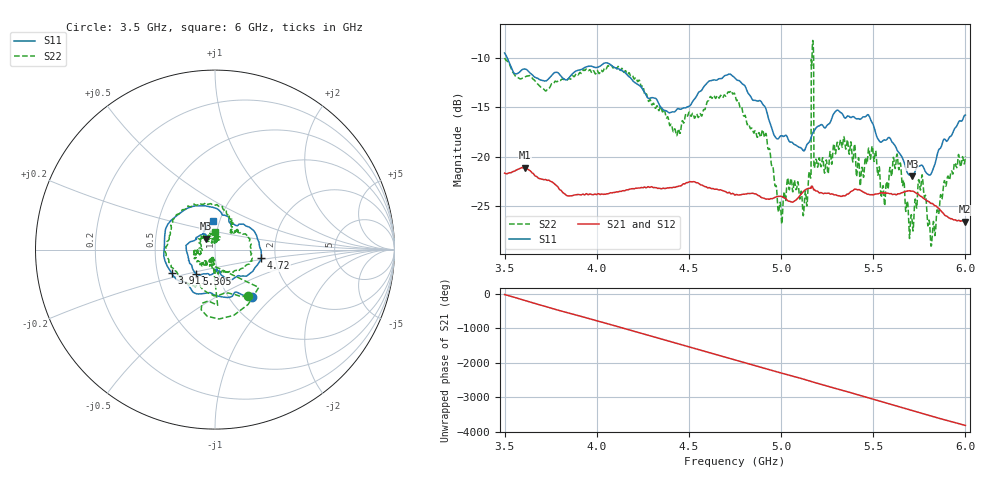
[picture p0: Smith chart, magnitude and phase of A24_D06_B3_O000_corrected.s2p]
! Created with skrf 1.9.0 (http://scikit-rf.org).
# Hz S RI R 50.0
!freq ReS11 ImS11 ReS21 ImS21 ReS12 ImS12 ReS22 ImS22
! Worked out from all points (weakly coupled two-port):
!   1601 points, 3.5 GHz to 6 GHz, reference 50 ohm
!   highest |S21| = -21.10 dB at 3.609 GHz (marker M1); lowest = -26.6 dB at 5.997 GHz (marker M2)
!   lowest |S11| = -22.0 dB at 5.713 GHz (marker M3), VSWR 1.17, Z = 44.8 + j5.46 ohm
!   |S11| at or under -10 dB: 3.514 GHz to end of sweep
!   |S22| runs from -29.1 to -8.2 dB; largest |S21 - S12| = 0.00096
!   S11 on the Smith chart (normalised r, x): 3.5 GHz: 1.27, -0.75; 3.911 GHz: 0.59, -0.17; 4.72 GHz: 1.68, -0.17; 5.305 GHz: 0.78, -0.22; 6 GHz: 0.93, +0.31
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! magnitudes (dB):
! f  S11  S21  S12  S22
! 3.5 GHz  -9.5  -21.7  -21.6  -10.0
! 3.609 GHz  -11.1  -21.1  -21.1  -12.0
! 3.911 GHz  -11.2  -23.9  -23.8  -11.5
! 3.917 GHz  -11.2  -23.9  -23.8  -11.5
! 4.334 GHz  -14.6  -23.2  -23.1  -15.3
! 4.442 GHz  -15.1  -23.0  -23.0  -17.2
! 4.72 GHz  -11.6  -23.6  -23.6  -13.5
! 4.75 GHz  -12.1  -23.9  -23.8  -13.7
! 4.911 GHz  -14.9  -24.2  -24.2  -18.0
! 4.995 GHz  -17.9  -24.0  -23.9  -24.6
! 5.131 GHz  -19.2  -23.4  -23.3  -23.5
! 5.15 GHz  -18.6  -23.2  -23.2  -21.8
! 5.167 GHz  -17.8  -23.0  -22.9  -10.2
! 5.191 GHz  -17.1  -23.5  -23.4  -20.3
! 5.305 GHz  -15.3  -23.9  -23.9  -18.5
! 5.584 GHz  -18.1  -23.7  -23.7  -22.4
! 5.638 GHz  -19.5  -23.8  -23.7  -21.2
! 5.713 GHz  -22.0  -23.5  -23.4  -26.9
! 5.758 GHz  -20.9  -24.0  -23.9  -23.2
! 5.823 GHz  -21.3  -24.8  -24.7  -27.1
! 5.997 GHz  -15.8  -26.6  -26.5  -20.5
! 6 GHz  -15.8  -26.5  -26.5  -19.9
